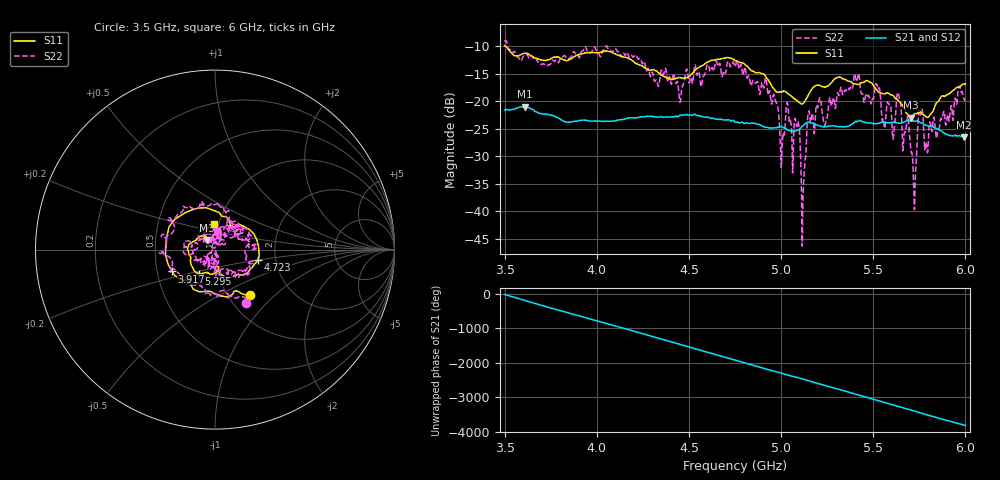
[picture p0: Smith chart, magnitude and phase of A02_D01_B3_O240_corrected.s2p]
! Created with skrf 1.9.0 (http://scikit-rf.org).
# Hz S RI R 50.0
!freq ReS11 ImS11 ReS21 ImS21 ReS12 ImS12 ReS22 ImS22
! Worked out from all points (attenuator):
!   1601 points, 3.5 GHz to 6 GHz, reference 50 ohm
!   highest |S21| = -21.02 dB at 3.611 GHz (marker M1); lowest = -26.6 dB at 5.994 GHz (marker M2)
!   lowest |S11| = -23.0 dB at 5.706 GHz (marker M3), VSWR 1.15, Z = 45.3 + j4.84 ohm
!   |S11| at or under -10 dB: 3.504 GHz to end of sweep
!   |S22| runs from -46.3 to -9.0 dB; largest |S21 - S12| = 0.0013
!   S11 on the Smith chart (normalised r, x): 3.5 GHz: 1.25, -0.71; 3.917 GHz: 0.60, -0.16; 4.723 GHz: 1.61, -0.19; 5.295 GHz: 0.81, -0.22; 6 GHz: 0.95, +0.28
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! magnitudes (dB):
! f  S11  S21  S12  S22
! 3.5 GHz  -9.9  -21.6  -21.7  -9.2
! 3.611 GHz  -11.3  -21.0  -21.0  -11.9
! 3.917 GHz  -11.5  -23.5  -23.5  -11.0
! 4.334 GHz  -14.8  -23.0  -22.9  -17.3
! 4.723 GHz  -12.2  -23.5  -23.5  -13.7
! 4.75 GHz  -12.6  -23.8  -23.8  -13.8
! 4.967 GHz  -18.0  -24.8  -24.8  -19.7
! 5.005 GHz  -18.3  -24.7  -24.7  -29.1
! 5.086 GHz  -19.9  -25.3  -25.3  -24.5
! 5.119 GHz  -20.5  -24.5  -24.4  -37.9
! 5.145 GHz  -19.1  -23.8  -23.8  -22.6
! 5.167 GHz  -17.8  -23.9  -24.0  -22.4
! 5.295 GHz  -15.9  -24.6  -24.6  -21.3
! 5.411 GHz  -16.9  -23.7  -23.7  -16.0
! 5.584 GHz  -18.6  -23.9  -23.9  -20.5
! 5.639 GHz  -20.0  -24.0  -24.0  -19.0
! 5.706 GHz  -23.0  -23.6  -23.6  -29.3
! 5.727 GHz  -22.3  -23.6  -23.6  -35.8
! 5.756 GHz  -22.0  -23.9  -23.9  -22.5
! 5.787 GHz  -22.9  -24.4  -24.4  -27.6
! 5.994 GHz  -17.0  -26.6  -26.5  -19.8
! 6 GHz  -16.9  -26.5  -26.5  -19.8
